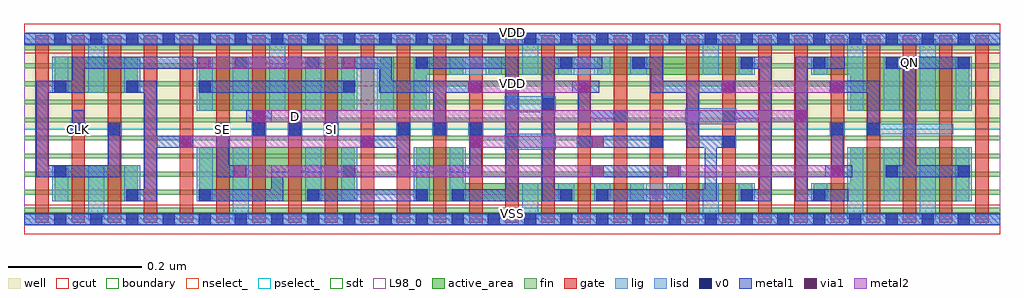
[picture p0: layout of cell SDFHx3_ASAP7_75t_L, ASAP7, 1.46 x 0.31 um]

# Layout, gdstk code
import gdstk
lib = gdstk.Library(unit=1e-6, precision=2.5e-10)
def R(c, l, rs):  # rectangles x0, y0, x1, y1
    for r in rs: c.add(gdstk.rectangle(r[:2], r[2:], *l))
def A(c, l, x, y, w, h, nx, ny, dx, dy):  # array of equal rectangles
    R(c, l, [(x+i*dx, y+j*dy, x+i*dx+w, y+j*dy+h) for i in range(nx) for j in range(ny)])
def P(c, l, *ps):  # polygons
    for p in ps: c.add(gdstk.Polygon(p, *l))
well = (1, 0)
fin = (2, 0)
gate = (7, 0)
gcut = (10, 0)
active_area = (11, 0)
nselect_ = (12, 0)
pselect_ = (13, 0)
lig = (16, 0)
lisd = (17, 0)
v0 = (18, 0)
metal1 = (19, 0)
metal2 = (20, 0)
via1 = (21, 0)
sdt = (88, 0)
L98_0 = (98, 0)
boundary = (100, 0)

sdfhx3_asap7_75t_l = lib.new_cell('SDFHx3_ASAP7_75t_L')
R(sdfhx3_asap7_75t_l, well, [(0,0.135,1.458,0.27)])
A(sdfhx3_asap7_75t_l, fin, 0, 0.01, 1.458, 0.007, 1, 10, 0, 0.027)
A(sdfhx3_asap7_75t_l, gate, 0.017, -0.005, 0.02, 0.28, 27, 1, 0.054, 0)
R(sdfhx3_asap7_75t_l, gcut, [(0,-0.022,1.458,0.022), (0,0.248,1.458,0.292)])
R(sdfhx3_asap7_75t_l, active_area, [(0.046,0.027,0.17,0.081), (0.262,0.027,0.494,0.108), (0.964,0.027,1.088,0.054), (0.262,0.162,0.494,0.243), (0.046,0.189,0.17,0.243), (0.694,0.216,0.818,0.243), (0.856,0.216,1.088,0.243)])
P(sdfhx3_asap7_75t_l, active_area, [(0.586,0.027),(0.586,0.108),(0.656,0.108),(0.656,0.054),(0.926,0.054),(0.926,0.027)],
  [(1.18,0.027),(1.18,0.054),(1.234,0.054),(1.234,0.108),(1.412,0.108),(1.412,0.027)],
  [(0.532,0.162),(0.532,0.243),(0.656,0.243),(0.656,0.216),(0.602,0.216),(0.602,0.162)],
  [(1.234,0.162),(1.234,0.216),(1.18,0.216),(1.18,0.243),(1.412,0.243),(1.412,0.162)])
R(sdfhx3_asap7_75t_l, nselect_, [(0,0,1.458,0.135)])
R(sdfhx3_asap7_75t_l, pselect_, [(0,0.135,1.458,0.27)])
A(sdfhx3_asap7_75t_l, lig, 0.826, 0.107, 0.022, 0.018, 3, 1, 0.108, 0)
A(sdfhx3_asap7_75t_l, lig, 0.286, 0.126, 0.022, 0.018, 4, 1, 0.054, 0)
A(sdfhx3_asap7_75t_l, lig, 0.556, 0.126, 0.022, 0.018, 3, 1, 0.054, 0)
R(sdfhx3_asap7_75t_l, lig, [(0,-0.008,1.458,0.008), (0.772,0.107,0.794,0.125), (0.07,0.126,0.092,0.144), (0.124,0.126,0.146,0.144), (1.204,0.126,1.226,0.144), (1.258,0.126,1.28,0.144), (1.258,0.127,1.388,0.143), (0.88,0.145,0.902,0.163), (0.988,0.145,1.01,0.163), (0.718,0.163,0.74,0.181), (0,0.262,1.458,0.278)])
R(sdfhx3_asap7_75t_l, lisd, [(0.096,0,0.12,0.081), (0.096,0,0.12,0.081), (0.312,0,0.336,0.108), (0.312,0,0.336,0.108), (0.744,0,0.768,0.054), (1.014,0,1.038,0.054), (1.23,0,1.254,0.108), (1.23,0,1.254,0.108), (1.338,0,1.362,0.108), (1.338,0,1.362,0.108), (0.042,0.027,0.066,0.081), (0.15,0.027,0.174,0.081), (0.258,0.027,0.282,0.108), (0.42,0.027,0.444,0.108), (0.474,0.027,0.498,0.108), (0.582,0.027,0.606,0.108), (0.636,0.027,0.66,0.108), (0.798,0.027,0.822,0.054), (0.852,0.027,0.876,0.054), (0.906,0.027,0.984,0.054), (1.068,0.027,1.092,0.054), (1.176,0.027,1.2,0.054), (1.284,0.027,1.308,0.108), (1.392,0.027,1.416,0.108), (0.718,0.104,0.794,0.128), (0.988,0.142,1.064,0.166), (0.718,0.16,0.794,0.184), (0.258,0.162,0.282,0.243), (0.312,0.162,0.336,0.243), (0.366,0.162,0.39,0.27), (0.366,0.162,0.39,0.27), (0.42,0.162,0.444,0.243), (0.474,0.162,0.552,0.243), (0.474,0.162,0.498,0.243), (0.582,0.162,0.606,0.243), (1.23,0.162,1.254,0.27), (1.23,0.162,1.254,0.27), (1.284,0.162,1.308,0.243), (1.338,0.162,1.362,0.27), (1.338,0.162,1.362,0.27), (1.392,0.162,1.416,0.243), (0.042,0.189,0.066,0.243), (0.096,0.189,0.12,0.27), (0.096,0.189,0.12,0.27), (0.15,0.189,0.174,0.243), (0.636,0.216,0.714,0.243), (0.744,0.216,0.768,0.27), (0.798,0.216,0.876,0.243), (0.798,0.216,0.822,0.243), (0.906,0.216,0.93,0.243), (1.014,0.216,1.038,0.27), (1.068,0.216,1.092,0.243), (1.176,0.216,1.2,0.243)])
A(sdfhx3_asap7_75t_l, v0, 0.045, -0.009, 0.018, 0.018, 26, 2, 0.054, 0.27)
A(sdfhx3_asap7_75t_l, v0, 0.261, 0.027, 0.018, 0.018, 3, 1, 0.162, 0)
A(sdfhx3_asap7_75t_l, v0, 0.72, 0.107, 0.018, 0.018, 4, 1, 0.108, 0)
A(sdfhx3_asap7_75t_l, v0, 0.288, 0.126, 0.018, 0.018, 4, 1, 0.054, 0)
A(sdfhx3_asap7_75t_l, v0, 0.558, 0.126, 0.018, 0.018, 3, 1, 0.054, 0)
A(sdfhx3_asap7_75t_l, v0, 0.045, 0.189, 0.018, 0.018, 3, 1, 0.108, 0)
A(sdfhx3_asap7_75t_l, v0, 1.071, 0.225, 0.018, 0.018, 4, 1, 0.108, 0)
R(sdfhx3_asap7_75t_l, v0, [(0.153,0.027,0.171,0.045), (0.639,0.027,0.657,0.045), (0.801,0.027,0.819,0.045), (0.855,0.027,0.873,0.045), (1.071,0.027,1.089,0.045), (1.179,0.027,1.197,0.045), (0.045,0.063,0.063,0.081), (0.477,0.063,0.495,0.081), (1.287,0.063,1.305,0.081), (1.395,0.063,1.413,0.081), (0.072,0.126,0.09,0.144), (0.126,0.126,0.144,0.144), (1.206,0.126,1.224,0.144), (1.26,0.126,1.278,0.144), (0.882,0.145,0.9,0.163), (1.044,0.145,1.062,0.163), (0.774,0.163,0.792,0.181), (0.477,0.189,0.495,0.207), (0.315,0.225,0.333,0.243), (0.423,0.225,0.441,0.243), (0.585,0.225,0.603,0.243), (0.801,0.225,0.819,0.243), (0.909,0.225,0.927,0.243)])
A(sdfhx3_asap7_75t_l, metal1, 0.261, 0.027, 0.018, 0.018, 3, 1, 0.162, 0)
A(sdfhx3_asap7_75t_l, metal1, 0.72, 0.107, 0.018, 0.018, 4, 1, 0.108, 0)
A(sdfhx3_asap7_75t_l, metal1, 0.288, 0.126, 0.018, 0.018, 4, 1, 0.054, 0)
A(sdfhx3_asap7_75t_l, metal1, 0.342, 0.126, 0.018, 0.037, 3, 1, 0.054, 0)
A(sdfhx3_asap7_75t_l, metal1, 0.558, 0.126, 0.018, 0.018, 3, 1, 0.054, 0)
A(sdfhx3_asap7_75t_l, metal1, 0.045, 0.189, 0.018, 0.018, 3, 1, 0.108, 0)
R(sdfhx3_asap7_75t_l, metal1, [(0,-0.009,1.458,0.009), (0.153,0.027,0.171,0.045), (0.423,0.027,0.603,0.045), (0.639,0.027,0.657,0.045), (0.801,0.027,0.819,0.045), (0.855,0.027,0.873,0.045), (1.071,0.027,1.089,0.045), (1.179,0.027,1.231,0.045), (0.045,0.063,0.063,0.081), (0.315,0.063,0.333,0.081), (0.477,0.063,0.495,0.081), (0.846,0.063,0.981,0.081), (0.963,0.063,0.981,0.081), (1.197,0.063,1.237,0.081), (1.206,0.063,1.224,0.144), (1.287,0.063,1.305,0.081), (1.395,0.063,1.413,0.081), (0.234,0.107,0.252,0.125), (0.502,0.107,0.524,0.125), (0.666,0.107,0.684,0.125), (0.828,0.107,0.954,0.125), (0.828,0.107,0.848,0.125), (0.072,0.126,0.09,0.144), (0.072,0.126,0.09,0.163), (0.126,0.126,0.144,0.144), (1.206,0.126,1.224,0.144), (1.26,0.126,1.278,0.144), (0.332,0.145,0.37,0.163), (0.882,0.145,0.9,0.163), (1.044,0.145,1.062,0.163), (1.152,0.145,1.17,0.163), (0.774,0.163,0.792,0.181), (0.261,0.189,0.495,0.207), (0.477,0.189,0.495,0.207), (0.666,0.189,0.684,0.207), (0.819,0.189,0.859,0.207), (1.044,0.189,1.062,0.207), (1.204,0.189,1.226,0.207), (0.261,0.225,0.279,0.243), (0.315,0.225,0.333,0.243), (0.315,0.225,0.441,0.243), (0.423,0.225,0.441,0.243), (0.475,0.225,0.497,0.243), (0.585,0.225,0.603,0.243), (0.801,0.225,0.864,0.243), (0.909,0.225,0.927,0.243), (1.071,0.225,1.089,0.243), (1.179,0.225,1.226,0.243), (1.287,0.225,1.305,0.243), (1.395,0.225,1.413,0.243), (0,0.261,1.458,0.279)])
P(sdfhx3_asap7_75t_l, metal1, [(0.261,0.027),(0.261,0.045),(0.369,0.045),(0.369,0.081),(0.495,0.081),(0.495,0.063),(0.387,0.063),(0.387,0.027)],
  [(0.612,0.126),(0.612,0.189),(0.531,0.189),(0.531,0.225),(0.477,0.225),(0.477,0.243),(0.549,0.243),(0.549,0.207),(0.684,0.207),(0.684,0.189),(0.63,0.189),(0.63,0.126)],
  [(0.018,0.063),(0.018,0.207),(0.072,0.207),(0.072,0.243),(0.279,0.243),(0.279,0.225),(0.09,0.225),(0.09,0.189),(0.036,0.189),(0.036,0.081),(0.126,0.081),(0.126,0.144),(0.144,0.144),(0.144,0.063)],
  [(0.828,0.145),(0.828,0.207),(0.846,0.207),(0.846,0.163),(0.9,0.163),(0.9,0.145)],
  [(0.153,0.027),(0.153,0.045),(0.18,0.045),(0.18,0.189),(0.153,0.189),(0.153,0.207),(0.198,0.207),(0.198,0.125),(0.252,0.125),(0.252,0.107),(0.198,0.107),(0.198,0.027)],
  [(0.558,0.063),(0.558,0.107),(0.504,0.107),(0.504,0.125),(0.558,0.125),(0.558,0.144),(0.576,0.144),(0.576,0.081),(0.666,0.081),(0.666,0.144),(0.684,0.144),(0.684,0.063)],
  [(0.774,0.027),(0.774,0.243),(0.819,0.243),(0.819,0.225),(0.792,0.225),(0.792,0.045),(0.819,0.045),(0.819,0.027)],
  [(0.639,0.027),(0.639,0.045),(0.72,0.045),(0.72,0.225),(0.585,0.225),(0.585,0.243),(0.738,0.243),(0.738,0.027)],
  [(0.288,0.063),(0.288,0.144),(0.306,0.144),(0.306,0.081),(0.333,0.081),(0.333,0.063)],
  [(1.152,0.027),(1.152,0.243),(1.197,0.243),(1.197,0.225),(1.17,0.225),(1.17,0.045),(1.197,0.045),(1.197,0.027)],
  [(1.071,0.027),(1.071,0.045),(1.098,0.045),(1.098,0.145),(1.044,0.145),(1.044,0.163),(1.098,0.163),(1.098,0.225),(1.071,0.225),(1.071,0.243),(1.116,0.243),(1.116,0.027)],
  [(1.287,0.063),(1.287,0.081),(1.314,0.081),(1.314,0.225),(1.287,0.225),(1.287,0.243),(1.413,0.243),(1.413,0.225),(1.332,0.225),(1.332,0.081),(1.413,0.081),(1.413,0.063)],
  [(0.855,0.027),(0.855,0.045),(1.017,0.045),(1.017,0.107),(0.99,0.107),(0.99,0.189),(0.936,0.189),(0.936,0.225),(0.909,0.225),(0.909,0.243),(0.954,0.243),(0.954,0.207),(1.062,0.207),(1.062,0.189),(1.008,0.189),(1.008,0.125),(1.062,0.125),(1.062,0.107),(1.035,0.107),(1.035,0.027)],
  [(1.26,0.126),(1.26,0.189),(1.206,0.189),(1.206,0.207),(1.278,0.207),(1.278,0.126)])
R(sdfhx3_asap7_75t_l, metal2, [(0.313,0.063,0.866,0.081), (0.961,0.063,1.224,0.081), (0.232,0.107,0.522,0.125), (0.666,0.107,0.866,0.125), (0.342,0.145,1.17,0.163), (0.664,0.189,0.846,0.207), (1.042,0.189,1.224,0.207), (0.259,0.225,0.495,0.243)])
R(sdfhx3_asap7_75t_l, via1, [(0.313,0.063,0.331,0.081), (0.848,0.063,0.866,0.081), (0.961,0.063,0.979,0.081), (1.206,0.063,1.224,0.081), (0.232,0.107,0.25,0.125), (0.504,0.107,0.522,0.125), (0.666,0.107,0.684,0.125), (0.848,0.107,0.866,0.125), (0.342,0.145,0.36,0.163), (1.152,0.145,1.17,0.163), (0.664,0.189,0.682,0.207), (0.828,0.189,0.846,0.207), (1.042,0.189,1.06,0.207), (1.206,0.189,1.224,0.207), (0.259,0.225,0.277,0.243), (0.477,0.225,0.495,0.243)])
A(sdfhx3_asap7_75t_l, sdt, 0.744, 0.027, 0.024, 0.027, 7, 1, 0.054, 0)
A(sdfhx3_asap7_75t_l, sdt, 1.23, 0.027, 0.024, 0.081, 3, 2, 0.054, 0.135)
A(sdfhx3_asap7_75t_l, sdt, 0.258, 0.162, 0.024, 0.081, 3, 1, 0.054, 0)
A(sdfhx3_asap7_75t_l, sdt, 0.366, 0.162, 0.024, 0.081, 3, 1, 0.054, 0)
A(sdfhx3_asap7_75t_l, sdt, 0.474, 0.162, 0.024, 0.081, 3, 1, 0.054, 0)
A(sdfhx3_asap7_75t_l, sdt, 0.636, 0.216, 0.024, 0.027, 4, 1, 0.054, 0)
A(sdfhx3_asap7_75t_l, sdt, 0.798, 0.216, 0.024, 0.027, 3, 1, 0.054, 0)
R(sdfhx3_asap7_75t_l, sdt, [(0.042,0.027,0.066,0.081), (0.096,0.027,0.12,0.081), (0.096,0.027,0.12,0.081), (0.15,0.027,0.174,0.081), (0.258,0.027,0.282,0.108), (0.312,0.027,0.336,0.108), (0.312,0.027,0.336,0.108), (0.42,0.027,0.444,0.108), (0.474,0.027,0.498,0.108), (0.582,0.027,0.606,0.108), (0.636,0.027,0.66,0.108), (1.176,0.027,1.2,0.054), (1.23,0.027,1.254,0.108), (1.338,0.027,1.362,0.108), (1.392,0.027,1.416,0.108), (1.23,0.162,1.254,0.243), (1.338,0.162,1.362,0.243), (1.392,0.162,1.416,0.243), (0.042,0.189,0.066,0.243), (0.096,0.189,0.12,0.243), (0.096,0.189,0.12,0.243), (0.15,0.189,0.174,0.243), (1.014,0.216,1.038,0.243), (1.068,0.216,1.092,0.243), (1.176,0.216,1.2,0.243)])
R(sdfhx3_asap7_75t_l, L98_0, [(0,0,1.458,0.27)])
R(sdfhx3_asap7_75t_l, boundary, [(0,0,1.458,0.27)])
sdfhx3_asap7_75t_l.add(gdstk.Label('VDD', (0.729,0.2025), layer=1, texttype=251))
sdfhx3_asap7_75t_l.add(gdstk.Label('VSS', (0.729,-0.0675), layer=3, texttype=251))
sdfhx3_asap7_75t_l.add(gdstk.Label('VSS', (0.729,0.009), layer=19, texttype=251))
sdfhx3_asap7_75t_l.add(gdstk.Label('VDD', (0.729,0.279), layer=19, texttype=251))
sdfhx3_asap7_75t_l.add(gdstk.Label('CLK', (0.081,0.135), layer=19, texttype=251))
sdfhx3_asap7_75t_l.add(gdstk.Label('D', (0.405,0.154), layer=19, texttype=251))
sdfhx3_asap7_75t_l.add(gdstk.Label('SI', (0.459,0.135), layer=19, texttype=251))
sdfhx3_asap7_75t_l.add(gdstk.Label('SE', (0.297,0.135), layer=19, texttype=251))
sdfhx3_asap7_75t_l.add(gdstk.Label('QN', (1.323,0.234), layer=19, texttype=251))

lib.write_gds('SDFHx3_ASAP7_75t_L.gds')
